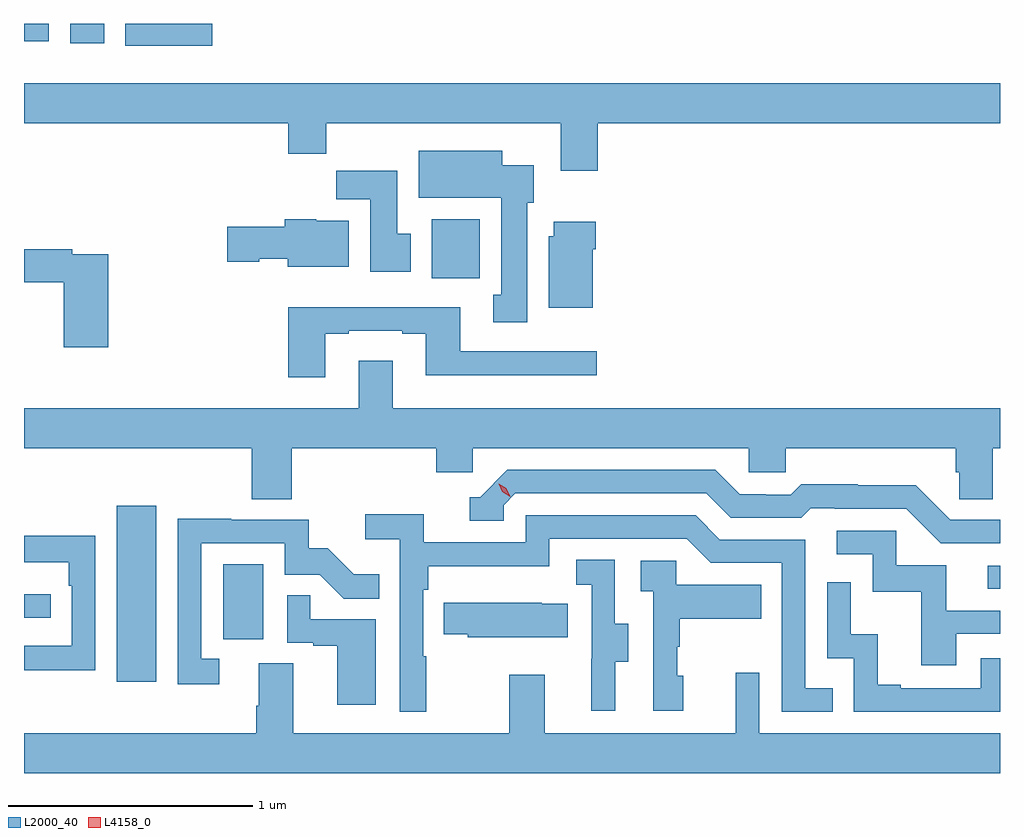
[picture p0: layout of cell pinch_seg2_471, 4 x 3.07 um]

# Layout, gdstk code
import gdstk
lib = gdstk.Library(unit=1e-6, precision=1e-09)
def R(c, l, rs):  # rectangles x0, y0, x1, y1
    for r in rs: c.add(gdstk.rectangle(r[:2], r[2:], *l))
def P(c, l, *ps):  # polygons
    for p in ps: c.add(gdstk.Polygon(p, *l))
L2000_40 = (2000, 40)
L4158_0 = (4158, 0)

pinch_seg2_471 = lib.new_cell('pinch_seg2_471')
R(pinch_seg2_471, L2000_40, [(935.669,593.4,935.83,594.121), (936.104,593.574,936.268,593.881), (935.288,593.661,935.398,593.757), (939.237,593.781,939.288,593.874), (936.959,595.052,937.156,595.294), (935.703,596.006,936.059,596.096), (935.477,596.016,935.617,596.096), (935.288,596.024,935.389,596.096)])
P(pinch_seg2_471, L2000_40, [(935.288,595.688),(936.371,595.688),(936.371,595.564),(936.527,595.564),(936.527,595.688),(937.487,595.688),(937.487,595.494),(937.64,595.494),(937.64,595.688),(939.288,595.688),(939.288,595.852),(935.288,595.852)],
  [(937.351,595.362),(937.378,595.362),(937.378,595.516),(937.249,595.516),(937.249,595.576),(936.905,595.576),(936.905,595.382),(937.244,595.382),(937.244,594.986),(937.211,594.986),(937.211,594.873),(937.351,594.873)],
  [(936.874,595.236),(936.817,595.236),(936.817,595.494),(936.568,595.494),(936.568,595.376),(936.707,595.376),(936.707,595.08),(936.874,595.08)],
  [(936.619,595.288),(936.486,595.288),(936.486,595.294),(936.356,595.294),(936.356,595.263),(936.12,595.263),(936.12,595.121),(936.252,595.121),(936.252,595.133),(936.368,595.133),(936.368,595.1),(936.619,595.1)],
  [(937.618,595.172),(937.631,595.172),(937.631,595.285),(937.46,595.285),(937.46,595.224),(937.439,595.224),(937.439,594.932),(937.618,594.932)],
  [(935.633,595.152),(935.486,595.152),(935.486,595.172),(935.288,595.172),(935.288,595.036),(935.45,595.036),(935.45,594.771),(935.633,594.771)],
  [(936.523,594.825),(936.619,594.825),(936.619,594.837),(936.839,594.837),(936.839,594.825),(936.935,594.825),(936.935,594.656),(937.636,594.656),(937.636,594.753),(937.075,594.753),(937.075,594.934),(936.371,594.934),(936.371,594.648),(936.523,594.648)],
  [(936.386,594.356),(936.977,594.356),(936.977,594.258),(937.128,594.258),(937.128,594.356),(938.259,594.356),(938.259,594.258),(938.409,594.258),(938.409,594.356),(939.107,594.356),(939.107,594.258),(939.121,594.258),(939.121,594.148),(939.258,594.148),(939.258,594.356),(939.288,594.356),(939.288,594.52),(936.799,594.52),(936.799,594.715),(936.659,594.715),(936.659,594.52),(935.288,594.52),(935.288,594.356),(936.221,594.356),(936.221,594.148),(936.386,594.148)],
  [(939.288,594.063),(939.084,594.063),(938.942,594.205),(938.706,594.205),(938.706,594.208),(938.473,594.208),(938.431,594.165),(938.328,594.165),(938.328,594.168),(938.221,594.168),(938.122,594.267),(937.269,594.267),(937.158,594.156),(937.115,594.156),(937.115,594.06),(937.254,594.06),(937.254,594.123),(937.302,594.171),(938.085,594.171),(938.184,594.072),(938.473,594.072),(938.512,594.111),(938.611,594.111),(938.611,594.108),(938.904,594.108),(939.045,593.967),(939.288,593.967)],
  [(936.937,593.504),(936.924,593.504),(936.924,593.777),(936.944,593.777),(936.944,593.873),(937.44,593.873),(937.44,593.985),(938.004,593.985),(938.103,593.886),(938.394,593.886),(938.394,593.277),(938.603,593.277),(938.603,593.373),(938.49,593.373),(938.49,593.982),(938.14,593.982),(938.041,594.081),(937.344,594.081),(937.344,593.97),(936.926,593.97),(936.926,594.086),(936.687,594.086),(936.687,593.984),(936.828,593.984),(936.828,593.277),(936.937,593.277)],
  [(936.088,593.493),(936.015,593.493),(936.015,593.967),(936.357,593.967),(936.357,593.838),(936.501,593.838),(936.599,593.74),(936.743,593.74),(936.743,593.839),(936.639,593.839),(936.532,593.946),(936.456,593.946),(936.456,594.063),(936.137,594.063),(936.137,594.068),(935.919,594.068),(935.919,593.388),(936.088,593.388)],
  [(939.109,593.595),(939.288,593.595),(939.288,593.691),(939.067,593.691),(939.067,593.877),(938.862,593.877),(938.862,594.018),(938.619,594.018),(938.619,593.922),(938.766,593.922),(938.766,593.769),(938.965,593.769),(938.965,593.466),(939.109,593.466)],
  [(935.58,593.998),(935.288,593.998),(935.288,593.888),(935.471,593.888),(935.471,593.792),(935.484,593.792),(935.484,593.547),(935.288,593.547),(935.288,593.446),(935.58,593.446)],
  [(937.711,593.482),(937.765,593.482),(937.765,593.637),(937.71,593.637),(937.71,593.9),(937.551,593.9),(937.551,593.797),(937.614,593.797),(937.614,593.493),(937.613,593.493),(937.613,593.28),(937.711,593.28)],
  [(937.99,593.424),(937.965,593.424),(937.965,593.543),(937.975,593.543),(937.975,593.657),(938.309,593.657),(938.309,593.797),(937.962,593.797),(937.962,593.895),(937.815,593.895),(937.815,593.771),(937.866,593.771),(937.866,593.28),(937.99,593.28)],
  [(939.288,593.496),(939.21,593.496),(939.21,593.373),(938.881,593.373),(938.881,593.386),(938.786,593.386),(938.786,593.594),(938.676,593.594),(938.676,593.806),(938.58,593.806),(938.58,593.496),(938.688,593.496),(938.688,593.277),(939.288,593.277)],
  [(936.73,593.655),(936.461,593.655),(936.461,593.753),(936.366,593.753),(936.366,593.559),(936.473,593.559),(936.473,593.547),(936.572,593.547),(936.572,593.304),(936.73,593.304)],
  [(937.517,593.719),(937.409,593.719),(937.409,593.722),(937.009,593.722),(937.009,593.593),(937.107,593.593),(937.107,593.582),(937.517,593.582)],
  [(939.288,593.188),(938.301,593.188),(938.301,593.437),(938.204,593.437),(938.204,593.188),(937.423,593.188),(937.423,593.428),(937.276,593.428),(937.276,593.188),(936.391,593.188),(936.391,593.474),(936.251,593.474),(936.251,593.3),(936.239,593.3),(936.239,593.188),(935.288,593.188),(935.288,593.024),(939.288,593.024)])
P(pinch_seg2_471, L4158_0, [(937.28,594.158),(937.249,594.178),(937.233,594.211),(937.233,594.211),(937.233,594.211),(937.264,594.192),(937.28,594.159),(937.28,594.158)])

lib.write_gds('pinch_seg2_471.gds')
